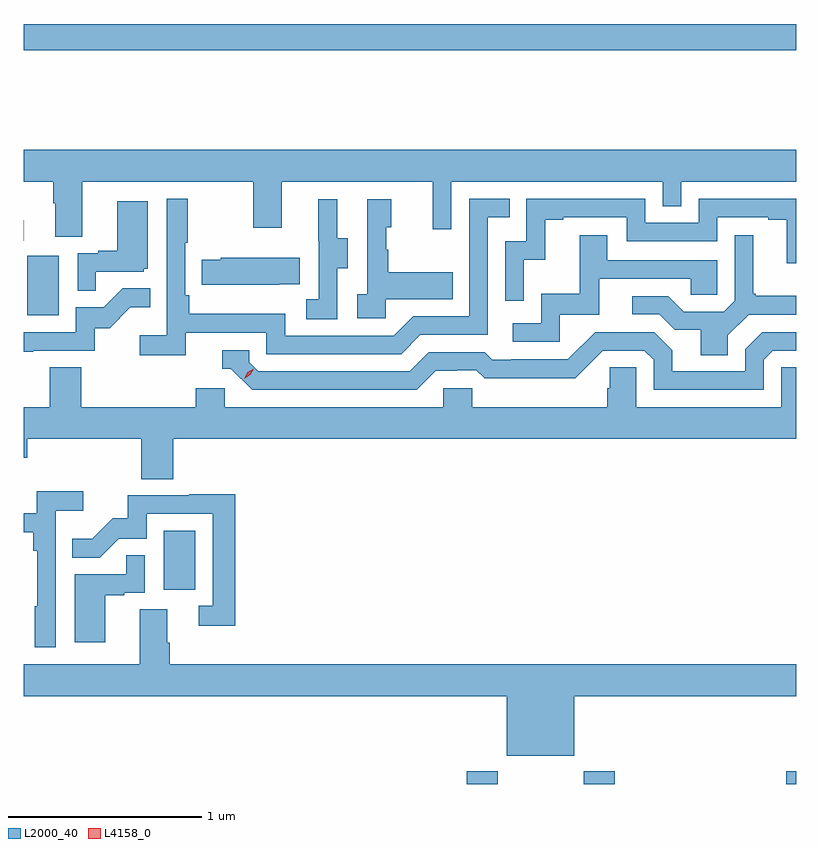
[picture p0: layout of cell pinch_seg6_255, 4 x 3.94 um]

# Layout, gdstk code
import gdstk
lib = gdstk.Library(unit=1e-6, precision=1e-09)
def R(c, l, rs):  # rectangles x0, y0, x1, y1
    for r in rs: c.add(gdstk.rectangle(r[:2], r[2:], *l))
def P(c, l, *ps):  # polygons
    for p in ps: c.add(gdstk.Polygon(p, *l))
L2000_40 = (2000, 40)
L4158_0 = (4158, 0)

pinch_seg6_255 = lib.new_cell('pinch_seg6_255')
R(pinch_seg6_255, L2000_40, [(1104.437,917.577,1104.597,917.644), (1105.042,917.577,1105.202,917.644), (1106.09,917.577,1106.143,917.643), (1102.868,918.582,1103.032,918.889), (1102.16,920.004,1102.324,920.311), (1102.143,920.391,1102.144,920.497), (1102.143,921.376,1106.143,921.512)])
P(pinch_seg6_255, L2000_40, [(1102.447,920.696),(1103.332,920.696),(1103.332,920.457),(1103.479,920.457),(1103.479,920.696),(1104.26,920.696),(1104.26,920.448),(1104.357,920.448),(1104.357,920.696),(1105.452,920.696),(1105.452,920.569),(1105.548,920.569),(1105.548,920.696),(1106.143,920.696),(1106.143,920.86),(1102.143,920.86),(1102.143,920.696),(1102.295,920.696),(1102.295,920.584),(1102.307,920.584),(1102.307,920.41),(1102.447,920.41)],
  [(1102.982,919.914),(1103.4,919.914),(1103.4,919.803),(1104.097,919.803),(1104.196,919.902),(1104.546,919.902),(1104.546,920.511),(1104.659,920.511),(1104.659,920.607),(1104.45,920.607),(1104.45,919.998),(1104.159,919.998),(1104.06,919.899),(1103.496,919.899),(1103.496,920.011),(1103,920.011),(1103,920.107),(1102.98,920.107),(1102.98,920.38),(1102.993,920.38),(1102.993,920.608),(1102.884,920.608),(1102.884,919.9),(1102.743,919.9),(1102.743,919.798),(1102.982,919.798)],
  [(1104.732,920.291),(1104.842,920.291),(1104.842,920.499),(1104.937,920.499),(1104.937,920.511),(1105.266,920.511),(1105.266,920.388),(1105.734,920.388),(1105.734,920.511),(1105.997,920.511),(1105.997,920.499),(1106.093,920.499),(1106.093,920.273),(1106.143,920.273),(1106.143,920.607),(1105.638,920.607),(1105.638,920.484),(1105.362,920.484),(1105.362,920.607),(1104.744,920.607),(1104.744,920.388),(1104.636,920.388),(1104.636,920.079),(1104.732,920.079)],
  [(1104.018,920.087),(1104.365,920.087),(1104.365,920.227),(1104.031,920.227),(1104.031,920.342),(1104.021,920.342),(1104.021,920.46),(1104.046,920.46),(1104.046,920.605),(1103.922,920.605),(1103.922,920.114),(1103.871,920.114),(1103.871,919.989),(1104.018,919.989)],
  [(1103.766,920.248),(1103.821,920.248),(1103.821,920.403),(1103.767,920.403),(1103.767,920.605),(1103.669,920.605),(1103.669,920.391),(1103.67,920.391),(1103.67,920.087),(1103.607,920.087),(1103.607,919.984),(1103.766,919.984)],
  [(1102.517,920.229),(1102.764,920.229),(1102.764,920.244),(1102.786,920.244),(1102.786,920.593),(1102.628,920.593),(1102.628,920.338),(1102.529,920.338),(1102.529,920.325),(1102.422,920.325),(1102.422,920.131),(1102.517,920.131)],
  [(1105.789,919.9),(1105.896,920.007),(1106.143,920.007),(1106.143,920.104),(1105.933,920.104),(1105.933,920.116),(1105.921,920.116),(1105.921,920.419),(1105.824,920.419),(1105.824,920.079),(1105.767,920.022),(1105.561,920.022),(1105.48,920.103),(1105.293,920.103),(1105.293,920.01),(1105.434,920.01),(1105.514,919.93),(1105.649,919.93),(1105.649,919.798),(1105.789,919.798)],
  [(1104.918,920.007),(1105.123,920.007),(1105.123,920.193),(1105.597,920.193),(1105.597,920.109),(1105.734,920.109),(1105.734,920.289),(1105.165,920.289),(1105.165,920.419),(1105.021,920.419),(1105.021,920.116),(1104.822,920.116),(1104.822,919.962),(1104.675,919.962),(1104.675,919.866),(1104.918,919.866)],
  [(1103.465,920.165),(1103.573,920.165),(1103.573,920.302),(1103.163,920.302),(1103.163,920.292),(1103.065,920.292),(1103.065,920.162),(1103.465,920.162)],
  [(1102.193,919.821),(1102.512,919.821),(1102.512,919.938),(1102.588,919.938),(1102.695,920.045),(1102.799,920.045),(1102.799,920.144),(1102.655,920.144),(1102.557,920.046),(1102.413,920.046),(1102.413,919.917),(1102.143,919.917),(1102.143,919.816),(1102.193,919.816)],
  [(1104.277,919.716),(1104.384,919.716),(1104.384,919.719),(1104.487,919.719),(1104.529,919.677),(1104.762,919.677),(1104.762,919.679),(1104.998,919.679),(1105.14,919.821),(1105.356,919.821),(1105.404,919.773),(1105.404,919.617),(1105.974,919.617),(1105.974,919.773),(1106.022,919.821),(1106.143,919.821),(1106.143,919.917),(1105.968,919.917),(1105.878,919.827),(1105.878,919.713),(1105.501,919.713),(1105.501,919.823),(1105.407,919.917),(1105.101,919.917),(1104.96,919.776),(1104.667,919.776),(1104.667,919.773),(1104.568,919.773),(1104.529,919.812),(1104.24,919.812),(1104.141,919.713),(1103.358,919.713),(1103.31,919.761),(1103.31,919.824),(1103.171,919.824),(1103.171,919.728),(1103.214,919.728),(1103.325,919.617),(1104.178,919.617)],
  [(1106.143,919.736),(1106.064,919.736),(1106.064,919.528),(1105.314,919.528),(1105.314,919.736),(1105.177,919.736),(1105.177,919.626),(1105.163,919.626),(1105.163,919.528),(1104.465,919.528),(1104.465,919.626),(1104.315,919.626),(1104.315,919.528),(1103.184,919.528),(1103.184,919.626),(1103.033,919.626),(1103.033,919.528),(1102.442,919.528),(1102.442,919.736),(1102.277,919.736),(1102.277,919.528),(1102.143,919.528),(1102.143,919.266),(1102.16,919.266),(1102.16,919.364),(1102.751,919.364),(1102.751,919.156),(1102.916,919.156),(1102.916,919.364),(1106.143,919.364)],
  [(1102.308,918.992),(1102.45,918.992),(1102.45,919.094),(1102.211,919.094),(1102.211,918.978),(1102.143,918.978),(1102.143,918.881),(1102.192,918.881),(1102.192,918.785),(1102.212,918.785),(1102.212,918.497),(1102.2,918.497),(1102.2,918.285),(1102.308,918.285)],
  [(1103.237,919.076),(1102.999,919.076),(1102.999,919.071),(1102.681,919.071),(1102.681,918.954),(1102.604,918.954),(1102.497,918.847),(1102.393,918.847),(1102.393,918.748),(1102.537,918.748),(1102.635,918.846),(1102.779,918.846),(1102.779,918.975),(1103.121,918.975),(1103.121,918.501),(1103.049,918.501),(1103.049,918.396),(1103.237,918.396)],
  [(1102.564,918.555),(1102.664,918.555),(1102.664,918.567),(1102.77,918.567),(1102.77,918.761),(1102.675,918.761),(1102.675,918.663),(1102.406,918.663),(1102.406,918.312),(1102.564,918.312)],
  [(1104.994,918.032),(1106.143,918.032),(1106.143,918.196),(1102.898,918.196),(1102.898,918.308),(1102.885,918.308),(1102.885,918.482),(1102.745,918.482),(1102.745,918.196),(1102.143,918.196),(1102.143,918.032),(1104.644,918.032),(1104.644,917.723),(1104.994,917.723)])
P(pinch_seg6_255, L4158_0, [(1103.286,919.676),(1103.286,919.676),(1103.302,919.708),(1103.333,919.728),(1103.334,919.728),(1103.334,919.727),(1103.317,919.695),(1103.286,919.676)])

lib.write_gds('pinch_seg6_255.gds')
